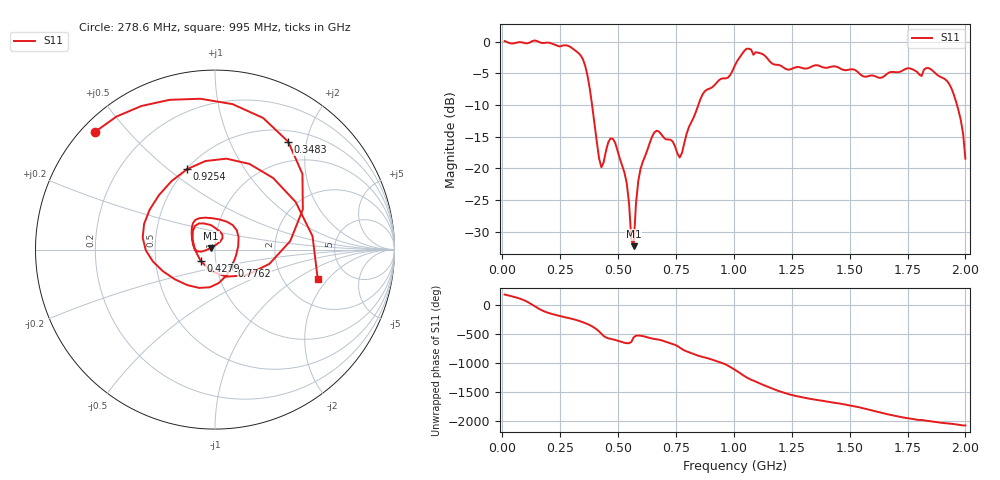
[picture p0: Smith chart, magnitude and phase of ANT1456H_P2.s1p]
!Created with skrf (http://scikit-rf.org).
# Hz S RI R 50.0
!freq ReS11 ImS11
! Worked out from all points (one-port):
!   201 points, 10 MHz to 2 GHz, reference 50 ohm
!   lowest |S11| = -32.3 dB at 567.2 MHz (marker M1), VSWR 1.05, Z = 47.8 + j0.938 ohm
!   |S11| at or under -10 dB: 387.8 MHz to 846.4 MHz (458.6 MHz wide, 74.3 % of centre); 1.964 GHz to end of sweep
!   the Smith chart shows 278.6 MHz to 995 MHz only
!   S11 on the Smith chart (normalised r, x): 278.6 MHz: 0.04, +0.41; 348.3 MHz: 0.66, +1.69; 427.9 MHz: 0.85, -0.11; 776.1 MHz: 1.19, -0.22; 925.4 MHz: 0.51, +0.58; 995 MHz: 3.09, -1.55
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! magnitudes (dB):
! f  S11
! 10 MHz  0.1
! 258.8 MHz  -0.6
! 278.6 MHz  -0.6
! 348.3 MHz  -2.8
! 378.1 MHz  -7.5
! 427.9 MHz  -19.8
! 467.7 MHz  -15.3
! 507.5 MHz  -18.5
! 537.4 MHz  -22.3
! 557.2 MHz  -31.2
! 567.2 MHz  -32.3
! 577.1 MHz  -25.7
! 587.1 MHz  -22.0
! 646.8 MHz  -15.0
! 676.6 MHz  -14.2
! 756.2 MHz  -17.6
! 776.1 MHz  -17.6
! 865.7 MHz  -8.3
! 925.4 MHz  -6.5
! 995 MHz  -4.5
! 1.005 GHz  -3.7
! 1.065 GHz  -1.1
! 1.254 GHz  -4.2
! 1.502 GHz  -4.4
! 1.751 GHz  -4.2
! 1.93 GHz  -6.7
! 1.98 GHz  -12.4
! 2 GHz  -18.5
